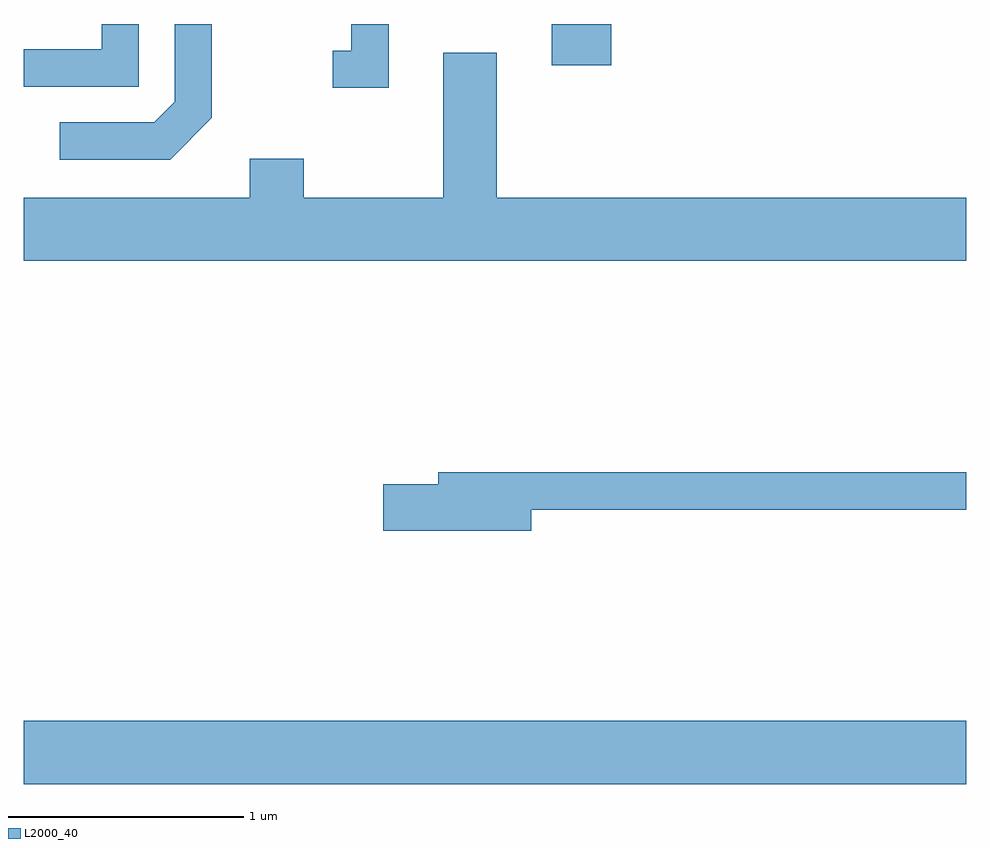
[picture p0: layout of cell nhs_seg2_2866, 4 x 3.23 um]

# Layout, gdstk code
import gdstk
lib = gdstk.Library(unit=1e-6, precision=1e-09)
def R(c, l, rs):  # rectangles x0, y0, x1, y1
    for r in rs: c.add(gdstk.rectangle(r[:2], r[2:], *l))
def P(c, l, *ps):  # polygons
    for p in ps: c.add(gdstk.Polygon(p, *l))
L2000_40 = (2000, 40)

nhs_seg2_2866 = lib.new_cell('nhs_seg2_2866')
R(nhs_seg2_2866, L2000_40, [(269.611,1010.576,273.611,1010.844), (271.851,1013.626,272.104,1013.802)])
P(nhs_seg2_2866, L2000_40, [(270.099,1013.802),(269.941,1013.802),(269.941,1013.694),(269.611,1013.694),(269.611,1013.536),(270.099,1013.536)],
  [(271.159,1013.802),(271.001,1013.802),(271.001,1013.689),(270.923,1013.689),(270.923,1013.531),(271.159,1013.531)],
  [(270.409,1013.404),(270.409,1013.802),(270.251,1013.802),(270.251,1013.472),(270.164,1013.384),(269.763,1013.384),(269.763,1013.226),(270.232,1013.226)],
  [(273.611,1013.064),(271.619,1013.064),(271.619,1013.679),(271.391,1013.679),(271.391,1013.064),(270.799,1013.064),(270.799,1013.229),(270.571,1013.229),(270.571,1013.064),(269.611,1013.064),(269.611,1012.796),(273.611,1012.796)],
  [(271.764,1011.741),(273.611,1011.741),(273.611,1011.899),(271.371,1011.899),(271.371,1011.849),(271.136,1011.849),(271.136,1011.651),(271.764,1011.651)])

lib.write_gds('nhs_seg2_2866.gds')
